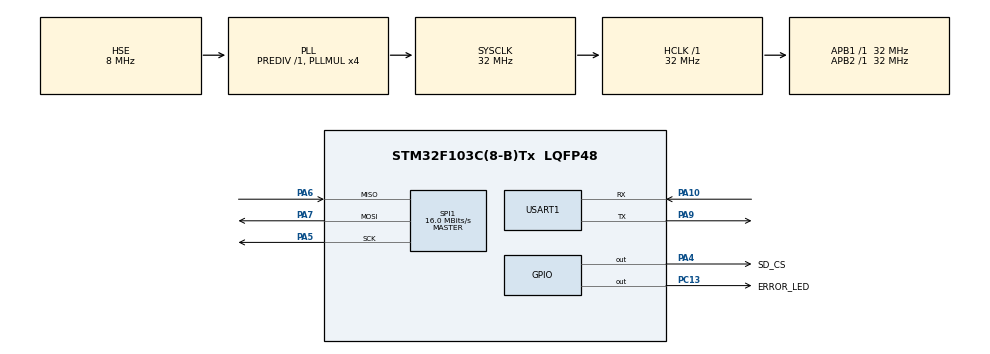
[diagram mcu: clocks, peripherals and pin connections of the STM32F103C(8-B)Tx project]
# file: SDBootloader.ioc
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FATFS._MAX_SS=4096
FATFS._USE_LFN=1
Mcu.Family=STM32F1
Mcu.Name=STM32F103C(8-B)Tx
Mcu.Package=LQFP48
NVIC.PriorityGroup=NVIC_PRIORITYGROUP_4
PA10.Mode=Asynchronous
PA10.Signal=USART1_RX
PA4.GPIO_Label=SD_CS
PA4.Signal=GPIO_Output
PA5.Mode=Full_Duplex_Master
PA5.Signal=SPI1_SCK
PA6.Mode=Full_Duplex_Master
PA6.Signal=SPI1_MISO
PA7.Mode=Full_Duplex_Master
PA7.Signal=SPI1_MOSI
PA9.Mode=Asynchronous
PA9.Signal=USART1_TX
PC13-TAMPER-RTC.GPIO_Label=ERROR_LED
PC13-TAMPER-RTC.Signal=GPIO_Output
PD0-OSC_IN.Mode=HSE-External-Oscillator
PD0-OSC_IN.Signal=RCC_OSC_IN
PD1-OSC_OUT.Mode=HSE-External-Oscillator
PD1-OSC_OUT.Signal=RCC_OSC_OUT
ProjectManager.HeapSize=0x200
ProjectManager.StackSize=0x400
ProjectManager.TargetToolchain=STM32CubeIDE
RCC.AHBFreq_Value=32000000
RCC.APB1Freq_Value=32000000
RCC.APB1TimFreq_Value=32000000
RCC.APB2Freq_Value=32000000
RCC.APB2TimFreq_Value=32000000
RCC.EnbaleCSS=true
RCC.HCLKFreq_Value=32000000
RCC.PLLMUL=RCC_PLL_MUL4
RCC.PLLSourceVirtual=RCC_PLLSOURCE_HSE
RCC.SYSCLKFreq_VALUE=32000000
RCC.SYSCLKSource=RCC_SYSCLKSOURCE_PLLCLK
RCC.USBFreq_Value=32000000
SPI1.CalculateBaudRate=16.0 MBits/s
SPI1.Direction=SPI_DIRECTION_2LINES
SPI1.Mode=SPI_MODE_MASTER
SPI1.VirtualType=VM_MASTER
USART1.VirtualMode=VM_ASYNC
VP_FATFS_VS_Generic.Mode=User_defined
VP_SYS_VS_ND.Mode=No_Debug
board=custom

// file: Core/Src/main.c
/* USER CODE BEGIN Header */
/**
  ******************************************************************************
  * @file           : main.c
  * @brief          : Main program body
  ******************************************************************************
  * @attention
  *
  * Copyright (c) 2023 STMicroelectronics.
  * All rights reserved.
  *
  * This software is licensed under terms that can be found in the LICENSE file
  * in the root directory of this software component.
  * If no LICENSE file comes with this software, it is provided AS-IS.
  *
  ******************************************************************************
  */
/* USER CODE END Header */
#include "main.h"
#include "fatfs.h"
#include "spi.h"
#include "usart.h"
#include "gpio.h"

/* USER CODE BEGIN Includes */
#include <string.h>
#include <stdio.h>
#include "sd.h"
/* USER CODE END Includes */

/* USER CODE BEGIN PV */
Error_Code errorCode = NO_ERROR;
const uint32_t errorLongDelay = 1000;
const uint32_t errorShortDelay = 250;
const uint32_t errorWaitDelay = 500;

extern char str1[60];
uint32_t byteswritten, bytesread;
uint8_t result;
char USER_Path[4];
SD_Info sdInfo;
FATFS SDFatFs;
FATFS* fs;
FIL MyFile;
uint8_t sect[512];
FRESULT res;
uint8_t wtext[] = "Hello from STM32!!!";
/* USER CODE END PV */

void SystemClock_Config(void);

/* USER CODE BEGIN PFP */
FRESULT ReadLongFile(void) {
	uint16_t i = 0, i1 = 0;
	uint32_t ind = 0;
	uint32_t f_size = MyFile.fsize;
	sprintf(str1, "fsize: %lurn", (unsigned long)f_size);
	HAL_UART_Transmit(&huart1, (uint8_t*)str1, strlen(str1), 0x1000);
	ind = 0;
	do {
		if (f_size < 512) {
			i1 = f_size;
		}
		else {
			i1 = 512;
		}
		f_size -= i1;
		f_lseek(&MyFile, ind);
		f_read(&MyFile, sect, i1, (UINT*)&bytesread);
		for (i = 0; i < bytesread; i++) {
			HAL_UART_Transmit(&huart1, sect + i, 1, 0x1000);
		}
		ind += i1;
	} while (f_size > 0);
	HAL_UART_Transmit(&huart1, (uint8_t*)"\r\n", 2, 0x1000);
	return FR_OK;
}
/* USER CODE END PFP */

int main(void) {

	/* MCU Configuration--------------------------------------------------------*/

	/* Reset of all peripherals, Initializes the Flash interface and the Systick. */
	HAL_Init();

	/* Configure the system clock */
	SystemClock_Config();

	/* Initialize all configured peripherals */
	MX_GPIO_Init();
	MX_USART1_UART_Init();
	MX_SPI1_Init();
	MX_FATFS_Init();
	/* USER CODE BEGIN 2 */
	HAL_GPIO_WritePin(ERROR_LED_GPIO_Port, ERROR_LED_Pin, GPIO_PIN_SET);

	if (f_mount(&SDFatFs, (TCHAR const*)USER_Path, 0) != FR_OK) {
		errorCode = SD_MOUNT_ERROR;
		Error_Handler();
	}
	else {
		if (f_open(&MyFile, "test.txt", FA_READ) != FR_OK) {
			errorCode = SD_OPEN_FILE_ERROR;
			Error_Handler();
		}
		else {
			ReadLongFile();
			f_close(&MyFile);
		}
	}

	if (f_mount(&SDFatFs, (TCHAR const*)USER_Path, 0) != FR_OK) {
		errorCode = SD_MOUNT_ERROR;
		Error_Handler();
	}
	else {
		if (f_open(&MyFile, "mywrite.txt", FA_CREATE_ALWAYS | FA_WRITE) != FR_OK) {
			errorCode = SD_OPEN_FILE_ERROR;
			Error_Handler();
		}
		else {
			res = f_write(&MyFile, wtext, sizeof(wtext), (void*)&byteswritten);
			if ((byteswritten == 0) || (res != FR_OK)) {
				errorCode = SD_WRITE_FILE_ERROR;
				Error_Handler();
			}
			f_close(&MyFile);
		}
	}
	/* USER CODE END 2 */

	/* Infinite loop */
	while (1) {

	}
}

void SystemClock_Config(void) {
	RCC_OscInitTypeDef RCC_OscInitStruct = {0};
	RCC_ClkInitTypeDef RCC_ClkInitStruct = {0};

	/** Initializes the RCC Oscillators according to the specified parameters
	* in the RCC_OscInitTypeDef structure.
	*/
	RCC_OscInitStruct.OscillatorType = RCC_OSCILLATORTYPE_HSE;
	RCC_OscInitStruct.HSEState = RCC_HSE_ON;
	RCC_OscInitStruct.HSEPredivValue = RCC_HSE_PREDIV_DIV1;
	RCC_OscInitStruct.HSIState = RCC_HSI_ON;
	RCC_OscInitStruct.PLL.PLLState = RCC_PLL_ON;
	RCC_OscInitStruct.PLL.PLLSource = RCC_PLLSOURCE_HSE;
	RCC_OscInitStruct.PLL.PLLMUL = RCC_PLL_MUL4;
	if (HAL_RCC_OscConfig(&RCC_OscInitStruct) != HAL_OK) {
		Error_Handler();
	}

	/** Initializes the CPU, AHB and APB buses clocks
	*/
	RCC_ClkInitStruct.ClockType = RCC_CLOCKTYPE_HCLK | RCC_CLOCKTYPE_SYSCLK | RCC_CLOCKTYPE_PCLK1 | RCC_CLOCKTYPE_PCLK2;
	RCC_ClkInitStruct.SYSCLKSource = RCC_SYSCLKSOURCE_PLLCLK;
	RCC_ClkInitStruct.AHBCLKDivider = RCC_SYSCLK_DIV1;
	RCC_ClkInitStruct.APB1CLKDivider = RCC_HCLK_DIV1;
	RCC_ClkInitStruct.APB2CLKDivider = RCC_HCLK_DIV1;

	if (HAL_RCC_ClockConfig(&RCC_ClkInitStruct, FLASH_LATENCY_1) != HAL_OK) {
		Error_Handler();
	}

	/** Enables the Clock Security System
	*/
	HAL_RCC_EnableCSS();
}

/* USER CODE BEGIN 4 */
static void RCC_Delay(uint32_t mdelay) {
	__IO uint32_t Delay = mdelay * (SystemCoreClock / 8U / 1000U);
	do {
		__NOP();
	} while (Delay--);
}
/* USER CODE END 4 */

void Error_Handler(void) {
	/* USER CODE BEGIN Error_Handler_Debug */
	/* User can add his own implementation to report the HAL error return state */
	__disable_irq();
	uint32_t longCount = 0;
	uint32_t shortCount = 0;
	HAL_GPIO_WritePin(ERROR_LED_GPIO_Port, ERROR_LED_Pin, GPIO_PIN_SET);
	RCC_Delay(errorWaitDelay);
	switch (errorCode) {
		case SPI_ERROR:
			longCount = 1;
			shortCount = 1;
			break;
		case SD_MOUNT_ERROR:
			longCount = 2;
			shortCount = 1;
			break;
		case SD_OPEN_FILE_ERROR:
			longCount = 1;
			shortCount = 2;
			break;
		case SD_WRITE_FILE_ERROR:
			longCount = 2;
			shortCount = 2;
			break;
		default:
			HAL_GPIO_WritePin(ERROR_LED_GPIO_Port, ERROR_LED_Pin, GPIO_PIN_RESET);
			while (1);
	}
	uint32_t i;
	while (1) {
		for (i = 0; i < longCount; ++i) {
			HAL_GPIO_WritePin(ERROR_LED_GPIO_Port, ERROR_LED_Pin, GPIO_PIN_RESET);
			RCC_Delay(errorLongDelay);
			HAL_GPIO_WritePin(ERROR_LED_GPIO_Port, ERROR_LED_Pin, GPIO_PIN_SET);
			RCC_Delay(errorWaitDelay);
		}
		for (i = 0; i < shortCount; ++i) {
			HAL_GPIO_WritePin(ERROR_LED_GPIO_Port, ERROR_LED_Pin, GPIO_PIN_RESET);
			RCC_Delay(errorShortDelay);
			HAL_GPIO_WritePin(ERROR_LED_GPIO_Port, ERROR_LED_Pin, GPIO_PIN_SET);
			RCC_Delay(errorWaitDelay);
		}
		RCC_Delay(errorWaitDelay * 3);
	}
	/* USER CODE END Error_Handler_Debug */
}
